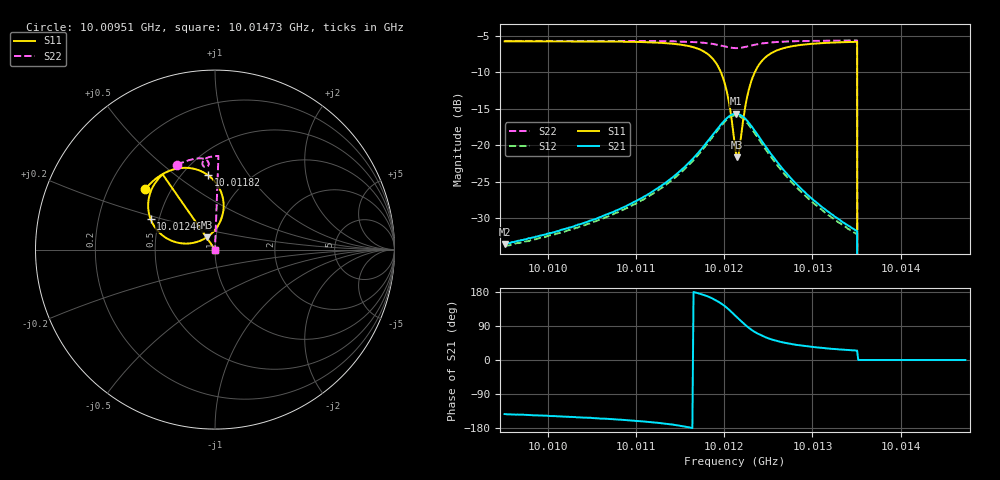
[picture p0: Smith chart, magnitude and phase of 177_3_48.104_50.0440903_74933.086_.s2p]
#  HZ  S  RI  R  50.00
! Rohde & Schwarz Vector Network Analyzer
! Rohde-Schwarz,ZNB20-2Port,1311601062101988,3.16
! Created: UTC 12/23/2023, 3:52:23 AM
! freq[Hz]  re:S11  im:S11  re:S21  im:S21  re:S12  im:S12  re:S22  im:S22
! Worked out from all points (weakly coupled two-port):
!   401 points, 10.00951 GHz to 10.01473 GHz, reference 50 ohm
!   highest |S21| = -15.68 dB at 10.01213 GHz (marker M1); lowest = -33.5 dB at 10.00951 GHz (marker M2)
!   lowest |S11| = -21.7 dB at 10.01215 GHz (marker M3), VSWR 1.18, Z = 45.3 + j6.34 ohm
!   |S11| at or under -10 dB: 10.01196 GHz to 10.01235 GHz (384.7 kHz wide, 0.00384 % of centre); 10.01351 GHz to end of sweep
!   |S22| runs from - to -5.6 dB; largest |S21 - S12| = 0.008
!   S11 on the Smith chart (normalised r, x): 10.00951 GHz: 0.36, +0.33; 10.01182 GHz: 0.66, +0.66; 10.01246 GHz: 0.45, +0.18; 10.01473 GHz: 1.00, +0.00
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1.0009508e10  -0.391 0.3351  -0.0168 -0.0128  -0.0156 -0.0131  -0.2112 0.4729
1.0010383e10  -0.336 0.3898  -0.0256 -0.0136  -0.024 -0.0143  -0.1566 0.4945
1.0011259e10  -0.2348 0.4456  -0.0501 -0.0125  -0.0474 -0.0145  -0.095 0.5081
1.0011572e10  -0.1549 0.4554  -0.0731 -0.00438  -0.0703 -0.0079  -0.0682 0.5073
1.001182e10  -0.0398 0.4154  -0.1054 0.0243  -0.1033 0.0182  -0.0443 0.497
1.0011925e10  0.0197 0.3496  -0.1178 0.0556  -0.1174 0.048  -0.0363 0.4856
1.0012003e10  0.0474 0.2622  -0.1176 0.09  -0.1187 0.0826  -0.0353 0.4741
1.0012056e10  0.0408 0.1879  -0.1063 0.117  -0.1087 0.1098  -0.0388 0.4662
1.0012121e10  -0.0112 0.0971  -0.0767 0.1454  -0.0807 0.1385  -0.048 0.4601
1.0012134e10  -0.0269 0.0826  -0.0693 0.1491  -0.0735 0.1424  -0.0503 0.4597
1.0012147e10  -0.0445 0.0695  -0.0614 0.1523  -0.0656 0.1457  -0.0528 0.4597
1.0012173e10  -0.0823 0.0492  -0.0455 0.1558  -0.0493 0.15  -0.0574 0.4604
1.0012239e10  -0.1824 0.0344  -0.00626 0.1517  -0.0105 0.1463  -0.0663 0.4669
1.0012291e10  -0.2511 0.0534  0.0182 0.1383  0.0126 0.1337  -0.0698 0.4746
1.0012369e10  -0.3205 0.1058  0.0394 0.1132  0.034 0.1099  -0.0693 0.4861
1.0012461e10  -0.3591 0.1703  0.0489 0.0868  0.0437 0.0846  -0.0638 0.4968
1.0012696e10  -0.3688 0.2855  0.0461 0.046  0.0419 0.0458  -0.0436 0.5115
1.0012996e10  -0.3408 0.3593  0.0353 0.0244  0.0325 0.0248  -0.0186 0.5185
1.001348e10  -0.2942 0.4173  0.0238 0.0113  0.0221 0.0118  0.0175 0.5216
1.0013545e10  0 0  0 0  0 0  0 0
1.0013872e10  0 0  0 0  0 0  0 0
1.0014734e10  0 0  0 0  0 0  0 0
